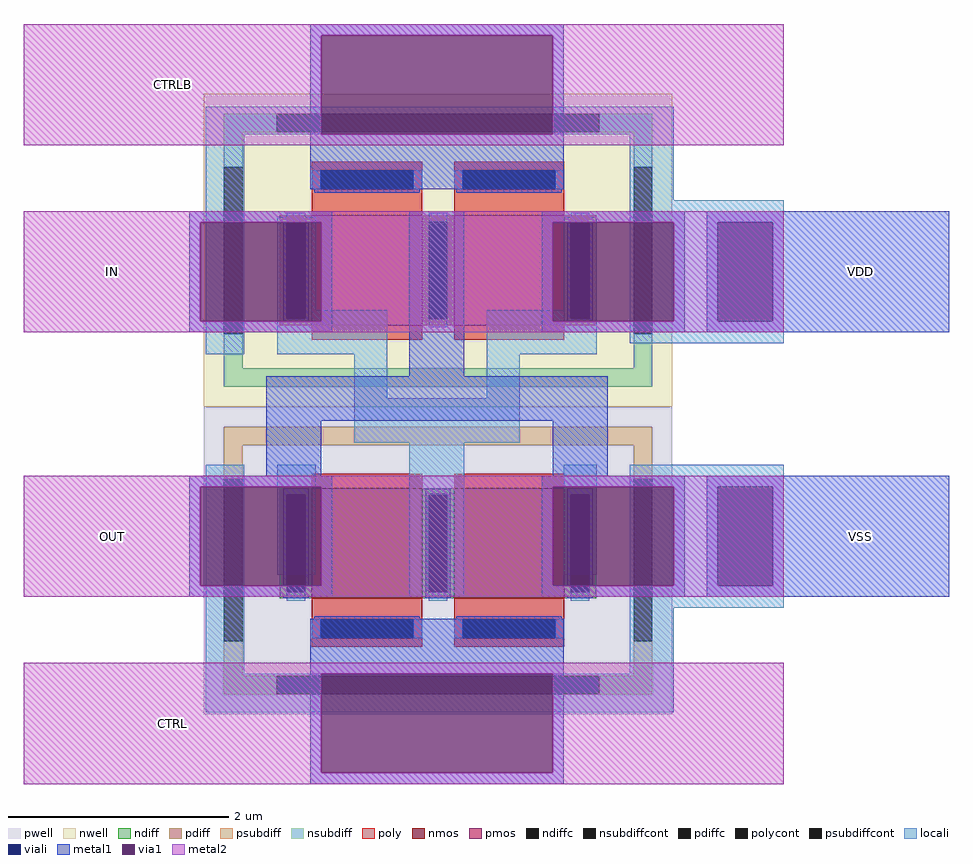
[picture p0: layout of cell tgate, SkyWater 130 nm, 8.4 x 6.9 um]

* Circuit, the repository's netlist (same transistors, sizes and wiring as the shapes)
* NGSPICE file created from tgate.ext - technology: sky130A

.subckt sky130_fd_pr__pfet_01v8_UNVJW6 w_n425_n284# a_n287_n136# a_229_n136# a_29_n162#
+ a_n29_n136# a_n229_n162#
X0 a_n29_n136# a_n229_n162# a_n287_n136# w_n425_n284# sky130_fd_pr__pfet_01v8 ad=0.145 pd=1.29 as=0.29 ps=2.58 w=1 l=1
X1 a_229_n136# a_29_n162# a_n29_n136# w_n425_n284# sky130_fd_pr__pfet_01v8 ad=0.29 pd=2.58 as=0.145 ps=1.29 w=1 l=1
.ends

.subckt sky130_fd_pr__nfet_01v8_7HRXTK a_29_n157# a_n229_n157# a_229_n69# a_n389_n243#
+ a_n29_n69# a_n287_n69#
X0 a_n29_n69# a_n229_n157# a_n287_n69# a_n389_n243# sky130_fd_pr__nfet_01v8 ad=0.145 pd=1.29 as=0.29 ps=2.58 w=1 l=1
X1 a_229_n69# a_29_n157# a_n29_n69# a_n389_n243# sky130_fd_pr__nfet_01v8 ad=0.29 pd=2.58 as=0.145 ps=1.29 w=1 l=1
.ends

*.subckt tgate IN OUT CTRL CTRLB
Xsky130_fd_pr__pfet_01v8_UNVJW6_0 IN IN IN CTRLB OUT CTRLB sky130_fd_pr__pfet_01v8_UNVJW6
Xsky130_fd_pr__nfet_01v8_7HRXTK_0 CTRL CTRL OUT OUT IN OUT sky130_fd_pr__nfet_01v8_7HRXTK
*.ends
.end

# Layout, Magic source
magic
tech sky130A
magscale 1 2
<< locali >>
rect -50 1000 800 1050
rect -50 600 20 1000
rect 720 880 800 1000
rect 80 680 150 850
rect 600 680 660 850
rect 80 600 280 680
rect 220 520 280 600
rect 460 600 660 680
rect 720 840 1000 880
rect 720 660 880 840
rect 980 660 1000 840
rect 720 620 1000 660
rect 460 520 520 600
rect 220 440 520 520
rect -50 20 20 400
rect 80 200 150 400
rect 320 160 420 440
rect 600 200 660 400
rect 720 360 1000 400
rect 720 180 880 360
rect 980 180 1000 360
rect 720 140 1000 180
rect 720 20 800 140
rect -50 -50 800 20
<< viali >>
rect 880 660 980 840
rect 880 180 980 360
<< metal1 >>
rect 140 1180 600 1200
rect 140 1000 160 1180
rect 580 1000 600 1180
rect 140 900 600 1000
rect -80 840 180 860
rect -80 660 -60 840
rect 160 660 180 840
rect -80 640 180 660
rect 320 560 420 860
rect 560 840 820 860
rect 560 660 580 840
rect 800 660 820 840
rect 560 640 820 660
rect 860 840 1300 860
rect 860 660 880 840
rect 980 660 1300 840
rect 860 640 1300 660
rect 60 480 680 560
rect 60 380 160 480
rect 580 380 680 480
rect -80 360 180 380
rect -80 180 -60 360
rect 160 180 180 360
rect -80 160 180 180
rect 560 360 820 380
rect 560 180 580 360
rect 800 180 820 360
rect 560 160 820 180
rect 860 360 1300 380
rect 860 180 880 360
rect 980 180 1300 360
rect 860 160 1300 180
rect 140 20 600 120
rect 140 -160 160 20
rect 580 -160 600 20
rect 140 -180 600 -160
<< via1 >>
rect 160 1000 580 1180
rect -60 660 160 840
rect 580 660 800 840
rect -60 180 160 360
rect 580 180 800 360
rect 160 -160 580 20
<< metal2 >>
rect -380 1180 1000 1200
rect -380 1000 160 1180
rect 580 1000 1000 1180
rect -380 980 1000 1000
rect -380 840 1000 860
rect -380 660 -60 840
rect 160 660 580 840
rect 800 660 1000 840
rect -380 640 1000 660
rect -380 360 1000 380
rect -380 180 -60 360
rect 160 180 580 360
rect 800 180 1000 360
rect -380 160 1000 180
rect -380 20 1000 40
rect -380 -160 160 20
rect 580 -160 1000 20
rect -380 -180 1000 -160
use sky130_fd_pr__nfet_01v8_7HRXTK  sky130_fd_pr__nfet_01v8_7HRXTK_0
transform 1 0 372 0 1 226
box -425 -279 425 279
use sky130_fd_pr__pfet_01v8_UNVJW6  sky130_fd_pr__pfet_01v8_UNVJW6_0
transform 1 0 372 0 1 789
box -425 -284 425 284
<< labels >>
flabel metal2 -380 640 -60 860 0 FreeSans 1600 0 0 0 IN
port 1 nsew
flabel metal2 -380 160 -60 380 0 FreeSans 1600 0 0 0 OUT
port 2 nsew
flabel metal2 -380 980 160 1200 0 FreeSans 1600 0 0 0 CTRLB
port 4 nsew
flabel metal2 -380 -180 160 40 0 FreeSans 1600 0 0 0 CTRL
port 3 nsew
flabel metal1 980 640 1300 860 0 FreeSans 1600 0 0 0 VDD
flabel metal1 980 160 1300 380 0 FreeSans 1600 0 0 0 VSS
<< end >>

# cell sky130_fd_pr__nfet_01v8_7HRXTK: kit device sky130_fd_pr__nfet_01v8, w 1 l 1 m 1 nf 2 diffcov 100 polycov 100 guard 1 glc 1 grc 1 gtc 0 gbc 1 tbcov 100 rlcov 100 topc 0 botc 1 poverlap 0 doverlap 1 lmin 0.15 wmin 0.42 compatible {sky130_fd_pr__nfet_01v8 sky130_fd_pr__nfet_01v8_lvt sky130_fd_bs_flash__special_sonosfet_star sky130_fd_pr__nfet_g5v0d10v5 sky130_fd_pr__nfet_05v0_nvt sky130_fd_pr__nfet_03v3_nvt} full_metal 0 viasrc 100 viadrn 100 viagate 100 viagb 0 viagr 0 viagl 0 viagt 0

# cell sky130_fd_pr__pfet_01v8_UNVJW6: kit device sky130_fd_pr__pfet_01v8, w 1 l 1 m 1 nf 2 diffcov 100 polycov 100 guard 1 glc 1 grc 1 gtc 1 gbc 0 tbcov 100 rlcov 100 topc 1 botc 0 poverlap 0 doverlap 1 lmin 0.15 wmin 0.42 compatible {sky130_fd_pr__pfet_01v8 sky130_fd_pr__pfet_01v8_lvt sky130_fd_pr__pfet_01v8_hvt sky130_fd_pr__pfet_g5v0d10v5} full_metal 0 viasrc 100 viadrn 100 viagate 100 viagb 0 viagr 0 viagl 0 viagt 0
